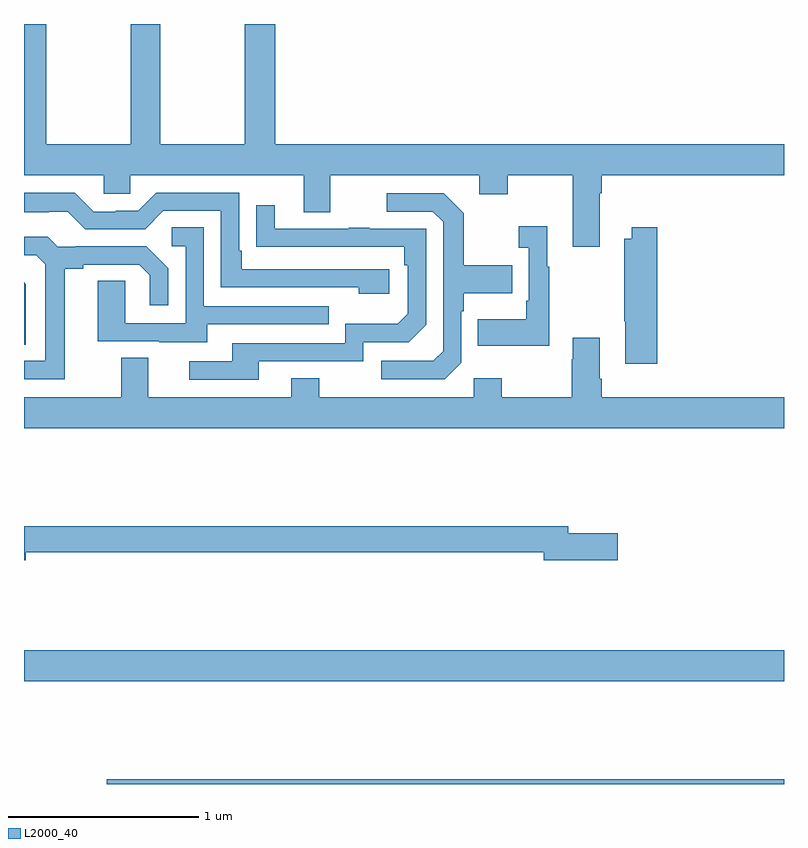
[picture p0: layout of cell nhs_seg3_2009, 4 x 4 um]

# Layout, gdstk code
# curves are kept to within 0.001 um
import gdstk
lib = gdstk.Library(unit=1e-6, precision=1e-09)
def R(c, l, rs):  # rectangles x0, y0, x1, y1
    for r in rs: c.add(gdstk.rectangle(r[:2], r[2:], *l))
def P(c, l, *ps):  # polygons
    for p in ps: c.add(gdstk.Polygon(p, *l))
L2000_40 = (2000, 40)

nhs_seg3_2009 = lib.new_cell('nhs_seg3_2009')
R(nhs_seg3_2009, L2000_40, [(215.435,676.4,219,676.424), (215,676.94,219,677.104)])
P(nhs_seg3_2009, L2000_40, [(218.029,679.508),(218.042,679.508),(218.042,679.604),(219,679.604),(219,679.768),(216.323,679.768),(216.323,680.4),(216.163,680.4),(216.163,679.768),(215.718,679.768),(215.718,680.4),(215.563,680.4),(215.563,679.768),(215.118,679.768),(215.118,680.4),(215,680.4),(215,679.604),(215.421,679.604),(215.421,679.506),(215.559,679.506),(215.559,679.604),(216.473,679.604),(216.473,679.41),(216.613,679.41),(216.613,679.604),(217.397,679.604),(217.397,679.505),(217.545,679.505),(217.545,679.604),(217.889,679.604),(217.889,679.227),(218.029,679.227)],
  [(216.922,679.11),(216.145,679.11),(216.145,679.207),(216.132,679.207),(216.132,679.512),(215.697,679.512),(215.601,679.416),(215.483,679.416),(215.483,679.413),(215.367,679.413),(215.267,679.513),(215,679.513),(215,679.409),(215.129,679.409),(215.129,679.413),(215.229,679.413),(215.322,679.32),(215.637,679.32),(215.733,679.416),(216.036,679.416),(216.036,679.014),(216.761,679.014),(216.761,678.98),(216.922,678.98)],
  [(217.302,678.618),(217.302,678.887),(217.315,678.887),(217.315,678.983),(217.571,678.983),(217.571,679.131),(217.315,679.131),(217.315,679.403),(217.209,679.509),(216.909,679.509),(216.909,679.413),(217.152,679.413),(217.206,679.359),(217.206,678.678),(217.155,678.627),(216.879,678.627),(216.879,678.531),(217.215,678.531)],
  [(216.235,678.624),(216.786,678.624),(216.786,678.726),(217.026,678.726),(217.116,678.816),(217.116,679.323),(216.821,679.323),(216.821,679.328),(216.709,679.328),(216.709,679.323),(216.319,679.323),(216.319,679.447),(216.223,679.447),(216.223,679.228),(217,679.227),(217,679.13),(217.02,679.13),(217.02,678.876),(216.967,678.823),(216.69,678.823),(216.69,678.72),(216.095,678.72),(216.095,678.624),(215.871,678.624),(215.871,678.528),(216.235,678.528)],
  [(217.765,679.123),(217.753,679.123),(217.753,679.336),(217.605,679.336),(217.605,679.223),(217.656,679.223),(217.656,678.943),(217.644,678.943),(217.644,678.847),(217.387,678.847),(217.387,678.707),(217.765,678.707)],
  [(215.965,678.819),(216.605,678.819),(216.605,678.915),(215.946,678.915),(215.946,679.331),(215.778,679.331),(215.778,679.23),(215.85,679.23),(215.85,678.825),(215.532,678.825),(215.532,679.049),(215.387,679.049),(215.387,678.729),(215.711,678.729),(215.711,678.725),(215.965,678.725)],
  [(218.333,679.33),(218.198,679.33),(218.198,679.27),(218.158,679.27),(218.158,678.835),(218.165,678.835),(218.165,678.612),(218.333,678.612)],
  [(215.215,679.112),(215.311,679.112),(215.311,679.134),(215.606,679.134),(215.663,679.077),(215.663,678.921),(215.76,678.921),(215.76,679.114),(215.644,679.23),(215.272,679.23),(215.272,679.227),(215.178,679.227),(215.126,679.279),(215,679.279),(215,679.182),(215.064,679.182),(215.111,679.135),(215.111,678.627),(215.001,678.627),(215.001,678.531),(215.215,678.531)],
  [(215.01,679.03),(215,679.04),(215,678.712),(215.01,678.712)],
  [(219,678.436),(218.042,678.436),(218.042,678.532),(218.029,678.532),(218.029,678.748),(217.889,678.748),(217.889,678.635),(217.882,678.635),(217.882,678.436),(217.515,678.436),(217.515,678.535),(217.368,678.535),(217.368,678.436),(216.555,678.436),(216.555,678.535),(216.407,678.535),(216.407,678.436),(215.653,678.436),(215.653,678.644),(215.513,678.644),(215.513,678.436),(215,678.436),(215,678.272),(219,678.272)],
  [(215.008,677.62),(217.736,677.62),(217.736,677.578),(218.125,677.578),(218.125,677.72),(217.864,677.72),(217.864,677.756),(215,677.756),(215,677.578),(215.008,677.578)])

lib.write_gds('nhs_seg3_2009.gds')
